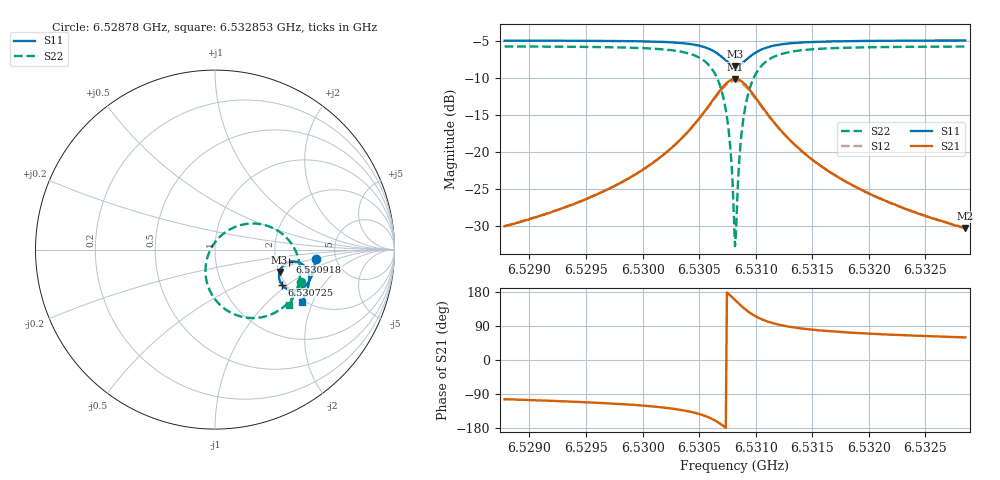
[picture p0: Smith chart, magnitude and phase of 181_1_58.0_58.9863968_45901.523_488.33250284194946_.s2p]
#  HZ  S  RI  R  50.00
! Rohde & Schwarz Vector Network Analyzer
! Rohde-Schwarz,ZNB20-2Port,1311601062101988,3.16
! Created: UTC 3/21/2024, 12:58:20 AM
! freq[Hz]  re:S11  im:S11  re:S21  im:S21  re:S12  im:S12  re:S22  im:S22
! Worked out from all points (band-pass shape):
!   401 points, 6.52878 GHz to 6.532853 GHz, reference 50 ohm
!   highest |S21| = -10.17 dB at 6.530817 GHz (marker M1); lowest = -30.3 dB at 6.532853 GHz (marker M2)
!   |S21| within 3 dB of the highest: 6.530614 GHz to 6.531022 GHz (407.9 kHz wide, 0.00625 % of centre)
!   lowest |S11| = -8.4 dB at 6.530817 GHz (marker M3), VSWR 2.23, Z = 100 - j29.3 ohm
!   |S11| at or under -10 dB: nowhere
!   |S22| runs from -32.7 to -5.8 dB; largest |S21 - S12| = 0.013
!   S11 on the Smith chart (normalised r, x): 6.52878 GHz: 3.49, -0.52; 6.530725 GHz: 1.91, -0.90; 6.530918 GHz: 2.37, -0.40; 6.532853 GHz: 1.93, -1.66
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6.5287802e9  0.5605 -0.0509  -0.0075 -0.0306  -0.00801 -0.0306  0.4815 -0.1802
6.5294624e9  0.5512 -0.108  -0.0168 -0.0436  -0.0179 -0.0433  0.4493 -0.2433
6.5301445e9  0.5241 -0.1769  -0.0509 -0.075  -0.053 -0.0734  0.366 -0.3321
6.5303787e9  0.4974 -0.2073  -0.0909 -0.0947  -0.0938 -0.0914  0.284 -0.3712
6.5305518e9  0.4537 -0.2274  -0.1598 -0.1014  -0.1622 -0.0946  0.1568 -0.3758
6.5306536e9  0.4084 -0.2226  -0.2302 -0.0749  -0.2293 -0.0648  0.0389 -0.318
6.5307249e9  0.3726 -0.1953  -0.282 -0.0157  -0.2761 -0.00541  -0.0372 -0.2084
6.5307656e9  0.3591 -0.1674  -0.2981 0.0377  -0.2891 0.0461  -0.0532 -0.117
6.5307758e9  0.3575 -0.1593  -0.2995 0.0527  -0.2896 0.0603  -0.052 -0.092
6.5308063e9  0.3574 -0.1336  -0.2936 0.0989  -0.2825 0.1036  -0.0335 -0.0177
6.5308165e9  0.3594 -0.1249  -0.2886 0.1138  -0.2773 0.1175  -0.0224 0.00592
6.5308267e9  0.3621 -0.1169  -0.2821 0.1283  -0.2709 0.131  -0.00904 0.0282
6.5308369e9  0.3657 -0.109  -0.2743 0.1419  -0.2631 0.1436  0.00637 0.049
6.5308572e9  0.3752 -0.0948  -0.2553 0.1664  -0.2447 0.1662  0.0423 0.0854
6.5308776e9  0.3872 -0.0833  -0.2326 0.186  -0.2231 0.1844  0.083 0.1129
6.5309183e9  0.4142 -0.0692  -0.1833 0.2094  -0.1762 0.2064  0.1689 0.1423
6.5309896e9  0.4577 -0.0683  -0.107 0.2117  -0.1034 0.2087  0.297 0.1308
6.5310914e9  0.4961 -0.09  -0.0414 0.1806  -0.0395 0.1789  0.4027 0.062
6.5312441e9  0.5187 -0.126  -0.00155 0.1335  -0.000374 0.133  0.4602 -0.0348
6.5314987e9  0.5246 -0.1695  0.0153 0.0874  0.0165 0.087  0.4741 -0.133
6.5321808e9  0.5078 -0.241  0.0179 0.0419  0.0185 0.0417  0.4449 -0.2494
6.5328528e9  0.483 -0.2922  0.0154 0.0264  0.0161 0.0261  0.4099 -0.3093
